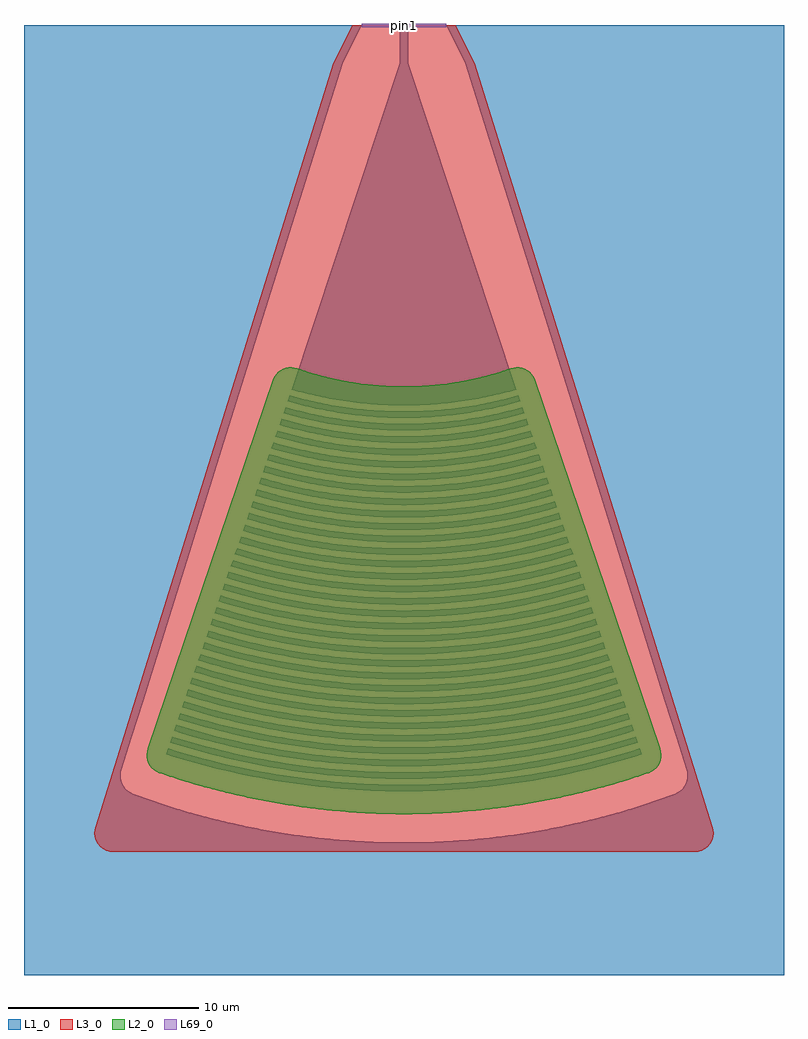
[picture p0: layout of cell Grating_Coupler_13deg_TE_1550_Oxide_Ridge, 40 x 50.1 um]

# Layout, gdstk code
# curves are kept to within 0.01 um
import gdstk
lib = gdstk.Library(unit=1e-6, precision=1e-09)
def P(c, l, *ps):  # polygons
    for p in ps: c.add(gdstk.Polygon(p, *l))
L1_0 = (1, 0)
L2_0 = (2, 0)
L3_0 = (3, 0)
L69_0 = (69, 0)

grating_coupler_13deg_te = lib.new_cell('Grating_Coupler_13deg_TE_1550_Oxide_Ridge')
P(grating_coupler_13deg_te, L1_0, [(-20,-50),(-20,0),(-2.225,0),(-3.225,-2),(-14.85,-39.128),(-14.897,-39.28),(-14.92,-39.438),(-14.917,-39.597),(-14.889,-39.754),(-14.836,-39.905),(-14.76,-40.045),(-14.662,-40.171),(-14.546,-40.28),(-14.414,-40.369),(-14.27,-40.437),(-12.895,-40.92),(-11.814,-41.261),(-10.567,-41.615),(-9.311,-41.929),(-8.203,-42.171),(-7.09,-42.382),(-5.97,-42.563),(-4.847,-42.713),(-3.72,-42.831),(-2.428,-42.928),(-1.295,-42.98),(-0.162,-43),(0.81,-42.992),(2.104,-42.946),(3.397,-42.859),(4.525,-42.75),(5.65,-42.609),(6.611,-42.464),(7.886,-42.235),(8.995,-42.001),(10.254,-41.697),(11.659,-41.307),(12.895,-40.92),(14.27,-40.437),(14.414,-40.369),(14.546,-40.28),(14.662,-40.171),(14.76,-40.045),(14.836,-39.905),(14.889,-39.754),(14.917,-39.597),(14.92,-39.438),(14.897,-39.28),(14.85,-39.128),(3.225,-2),(2.225,0),(20,0),(20,-50)],
  [(-0.195,-40.305),(-1.758,-40.268),(-2.539,-40.227),(-3.709,-40.139),(-4.875,-40.017),(-5.651,-39.918),(-6.425,-39.804),(-7.582,-39.605),(-9.117,-39.289),(-10.26,-39.014),(-11.395,-38.707),(-12.522,-38.367),(-12.411,-38.045),(-10.92,-38.487),(-9.414,-38.872),(-7.896,-39.199),(-6.751,-39.406),(-5.217,-39.632),(-3.676,-39.8),(-2.13,-39.91),(-0.581,-39.961),(0.968,-39.954),(2.13,-39.91),(3.29,-39.833),(4.832,-39.68),(5.985,-39.527),(6.751,-39.406),(7.515,-39.272),(8.657,-39.042),(9.414,-38.872),(10.545,-38.588),(11.294,-38.382),(12.411,-38.045),(12.522,-38.367),(11.017,-38.813),(9.498,-39.201),(7.967,-39.531),(6.425,-39.804),(4.875,-40.017),(3.319,-40.172),(2.539,-40.227),(1.368,-40.283)],
  [(-0.192,-39.65),(-0.96,-39.639),(-2.112,-39.595),(-2.879,-39.548),(-4.028,-39.451),(-5.174,-39.32),(-5.935,-39.216),(-7.453,-38.963),(-8.585,-38.736),(-10.085,-38.383),(-11.201,-38.081),(-12.309,-37.747),(-12.198,-37.426),(-10.732,-37.859),(-9.252,-38.237),(-7.76,-38.558),(-6.259,-38.823),(-4.749,-39.03),(-3.233,-39.181),(-1.713,-39.274),(-0.571,-39.306),(0.952,-39.299),(2.093,-39.256),(3.233,-39.181),(4.749,-39.03),(5.505,-38.934),(6.635,-38.762),(7.386,-38.63),(8.508,-38.405),(9.623,-38.148),(10.363,-37.959),(11.467,-37.65),(12.198,-37.426),(12.309,-37.747),(11.201,-38.081),(10.458,-38.286),(8.961,-38.653),(7.453,-38.963),(5.935,-39.216),(4.41,-39.411),(2.879,-39.548),(1.344,-39.628)],
  [(-0.189,-38.995),(-1.698,-38.959),(-2.452,-38.92),(-3.582,-38.835),(-4.709,-38.718),(-5.458,-38.622),(-6.579,-38.452),(-7.324,-38.321),(-8.806,-38.017),(-9.91,-37.752),(-11.007,-37.455),(-12.096,-37.128),(-11.985,-36.807),(-10.544,-37.232),(-9.09,-37.602),(-7.624,-37.917),(-6.149,-38.177),(-4.665,-38.381),(-3.549,-38.497),(-2.056,-38.602),(-0.561,-38.651),(0.935,-38.644),(2.056,-38.602),(3.549,-38.497),(4.665,-38.381),(5.408,-38.286),(6.519,-38.117),(7.256,-37.987),(8.359,-37.767),(9.455,-37.515),(10.182,-37.33),(10.906,-37.131),(11.985,-36.807),(12.096,-37.128),(10.642,-37.558),(9.91,-37.752),(8.806,-38.017),(7.324,-38.321),(5.832,-38.569),(4.333,-38.76),(2.829,-38.895),(1.321,-38.973)],
  [(-0.185,-38.34),(-1.298,-38.319),(-2.039,-38.288),(-3.518,-38.183),(-4.257,-38.11),(-5.362,-37.974),(-6.463,-37.807),(-7.194,-37.679),(-8.287,-37.46),(-9.735,-37.12),(-10.812,-36.83),(-11.882,-36.509),(-11.772,-36.187),(-10.357,-36.604),(-8.928,-36.968),(-7.849,-37.205),(-6.402,-37.473),(-4.947,-37.686),(-3.485,-37.845),(-2.019,-37.948),(-0.551,-37.996),(0.551,-37.996),(2.019,-37.948),(3.119,-37.876),(4.582,-37.731),(5.311,-37.638),(6.402,-37.473),(7.488,-37.277),(8.21,-37.129),(8.928,-36.968),(10.001,-36.7),(11.066,-36.403),(11.772,-36.187),(11.882,-36.509),(10.454,-36.93),(9.012,-37.297),(8.287,-37.46),(7.194,-37.679),(5.729,-37.922),(4.257,-38.11),(2.779,-38.242),(1.298,-38.319)],
  [(-0.182,-37.685),(-0.91,-37.675),(-2.002,-37.634),(-3.092,-37.562),(-3.818,-37.497),(-4.904,-37.374),(-5.626,-37.275),(-7.065,-37.037),(-8.138,-36.822),(-9.205,-36.578),(-10.266,-36.303),(-11.669,-35.889),(-11.558,-35.568),(-10.517,-35.88),(-9.118,-36.249),(-7.707,-36.565),(-6.286,-36.828),(-4.857,-37.037),(-3.422,-37.193),(-1.983,-37.294),(-0.541,-37.341),(0.902,-37.335),(1.983,-37.294),(3.422,-37.193),(4.499,-37.081),(5.215,-36.99),(6.286,-36.828),(7.352,-36.636),(8.061,-36.491),(9.118,-36.249),(9.819,-36.071),(10.517,-35.88),(11.558,-35.568),(11.669,-35.889),(10.266,-36.303),(8.85,-36.662),(7.423,-36.969),(5.986,-37.221),(4.542,-37.418),(3.092,-37.562),(1.638,-37.651),(0.91,-37.675)],
  [(-0.179,-37.03),(-0.894,-37.02),(-1.965,-36.98),(-3.748,-36.846),(-4.459,-36.769),(-5.523,-36.628),(-6.935,-36.395),(-7.989,-36.184),(-9.037,-35.945),(-10.424,-35.579),(-11.456,-35.27),(-11.345,-34.949),(-9.981,-35.349),(-8.604,-35.698),(-7.216,-35.995),(-5.82,-36.24),(-4.415,-36.431),(-3.006,-36.571),(-1.592,-36.657),(-0.531,-36.687),(0.531,-36.687),(1.239,-36.67),(2.653,-36.597),(4.064,-36.471),(5.469,-36.293),(7.216,-35.995),(8.604,-35.698),(9.981,-35.349),(11.345,-34.949),(11.456,-35.27),(10.078,-35.675),(8.688,-36.028),(7.287,-36.328),(5.877,-36.575),(4.459,-36.769),(3.748,-36.846),(2.679,-36.936),(1.251,-37.01)],
  [(-0.175,-36.375),(-1.928,-36.326),(-3.328,-36.227),(-5.072,-36.031),(-6.806,-35.752),(-7.84,-35.547),(-8.868,-35.312),(-9.891,-35.048),(-11.243,-34.651),(-11.132,-34.329),(-9.793,-34.722),(-8.442,-35.064),(-7.422,-35.287),(-6.053,-35.539),(-4.677,-35.74),(-3.295,-35.889),(-1.909,-35.986),(-0.521,-36.032),(0.868,-36.025),(2.256,-35.967),(3.987,-35.821),(5.366,-35.646),(6.738,-35.419),(7.422,-35.287),(8.442,-35.064),(9.793,-34.722),(11.132,-34.329),(11.243,-34.651),(9.891,-35.048),(8.526,-35.393),(7.151,-35.687),(5.767,-35.929),(4.375,-36.119),(2.979,-36.257),(1.578,-36.342),(0.526,-36.372)],
  [(-0.172,-35.72),(-1.892,-35.672),(-3.608,-35.543),(-5.316,-35.335),(-6.676,-35.11),(-7.691,-34.909),(-8.7,-34.679),(-10.036,-34.328),(-11.029,-34.032),(-10.919,-33.71),(-9.605,-34.094),(-8.28,-34.429),(-6.944,-34.714),(-5.6,-34.948),(-4.587,-35.091),(-3.232,-35.237),(-1.873,-35.332),(-0.511,-35.377),(1.192,-35.361),(2.553,-35.291),(3.91,-35.17),(5.263,-34.999),(6.609,-34.777),(7.947,-34.505),(9.275,-34.183),(10.919,-33.71),(11.029,-34.032),(9.703,-34.42),(8.364,-34.759),(7.015,-35.046),(5.316,-35.335),(3.95,-35.508),(2.579,-35.63),(1.204,-35.701)],
  [(-0.169,-35.065),(-1.855,-35.018),(-3.537,-34.892),(-5.213,-34.688),(-6.879,-34.406),(-7.872,-34.199),(-8.86,-33.964),(-9.841,-33.702),(-10.816,-33.412),(-10.705,-33.091),(-9.418,-33.467),(-8.444,-33.717),(-7.137,-34.008),(-5.821,-34.25),(-4.497,-34.442),(-3.168,-34.585),(-1.836,-34.678),(-0.501,-34.722),(0.835,-34.716),(2.169,-34.66),(3.833,-34.52),(5.16,-34.352),(6.48,-34.135),(7.791,-33.869),(9.418,-33.467),(10.705,-33.091),(10.816,-33.412),(9.515,-33.793),(8.202,-34.124),(6.879,-34.406),(5.547,-34.638),(4.209,-34.82),(2.865,-34.952),(1.181,-35.046)],
  [(-0.165,-34.41),(-1.818,-34.364),(-3.467,-34.241),(-5.11,-34.041),(-6.743,-33.765),(-7.717,-33.563),(-8.685,-33.333),(-9.647,-33.077),(-10.603,-32.793),(-10.492,-32.471),(-9.23,-32.839),(-7.956,-33.16),(-6.672,-33.432),(-5.381,-33.657),(-4.082,-33.833),(-3.105,-33.933),(-1.799,-34.024),(-0.491,-34.067),(1.145,-34.052),(2.452,-33.985),(3.757,-33.869),(5.057,-33.705),(6.35,-33.493),(7.956,-33.16),(9.23,-32.839),(10.492,-32.471),(10.603,-32.793),(9.327,-33.165),(8.04,-33.489),(6.743,-33.765),(5.438,-33.992),(3.797,-34.207),(2.478,-34.324),(1.157,-34.391)],
  [(-0.162,-33.755),(-1.781,-33.71),(-3.397,-33.589),(-5.007,-33.394),(-6.607,-33.124),(-7.561,-32.926),(-8.51,-32.702),(-9.453,-32.451),(-10.39,-32.174),(-10.279,-31.852),(-9.042,-32.212),(-7.794,-32.525),(-6.536,-32.792),(-5.588,-32.961),(-4.317,-33.145),(-3.042,-33.281),(-1.762,-33.37),(-0.481,-33.412),(0.801,-33.406),(2.402,-33.332),(3.68,-33.219),(4.953,-33.058),(6.536,-32.792),(7.794,-32.525),(9.042,-32.212),(10.279,-31.852),(10.39,-32.174),(9.139,-32.538),(7.878,-32.855),(6.607,-33.124),(5.328,-33.346),(4.042,-33.52),(2.752,-33.647),(1.458,-33.725)],
  [(-0.159,-33.1),(-1.745,-33.056),(-3.011,-32.968),(-4.589,-32.791),(-6.158,-32.542),(-7.094,-32.358),(-8.026,-32.147),(-8.952,-31.91),(-10.176,-31.554),(-10.066,-31.233),(-8.854,-31.584),(-7.632,-31.891),(-6.4,-32.151),(-5.472,-32.316),(-4.227,-32.496),(-2.978,-32.629),(-1.726,-32.716),(-0.471,-32.757),(0.785,-32.751),(2.352,-32.679),(3.603,-32.568),(4.85,-32.412),(6.091,-32.209),(7.632,-31.891),(8.854,-31.584),(10.066,-31.233),(10.176,-31.554),(8.952,-31.91),(7.716,-32.22),(6.158,-32.542),(4.904,-32.747),(3.643,-32.906),(2.378,-33.018),(1.11,-33.082)],
  [(-0.155,-32.445),(-1.708,-32.402),(-3.257,-32.287),(-4.801,-32.101),(-6.335,-31.843),(-7.25,-31.654),(-8.16,-31.44),(-9.065,-31.2),(-9.963,-30.935),(-9.852,-30.613),(-8.666,-30.957),(-7.47,-31.256),(-6.566,-31.451),(-5.355,-31.671),(-4.138,-31.847),(-2.915,-31.977),(-1.689,-32.062),(-0.461,-32.102),(0.768,-32.096),(1.996,-32.045),(3.527,-31.918),(4.747,-31.765),(5.962,-31.567),(7.169,-31.324),(8.368,-31.036),(9.852,-30.613),(9.963,-30.935),(8.764,-31.283),(7.25,-31.654),(6.029,-31.9),(4.801,-32.101),(3.567,-32.255),(2.328,-32.364),(1.087,-32.428)],
  [(-0.152,-31.79),(-1.671,-31.748),(-3.187,-31.636),(-4.697,-31.454),(-6.199,-31.202),(-7.094,-31.018),(-7.985,-30.808),(-8.87,-30.574),(-9.75,-30.316),(-9.639,-29.994),(-8.479,-30.329),(-7.308,-30.621),(-6.128,-30.869),(-4.942,-31.074),(-3.749,-31.234),(-2.552,-31.35),(-1.352,-31.422),(-0.451,-31.447),(0.751,-31.442),(1.952,-31.392),(3.151,-31.298),(4.644,-31.118),(5.832,-30.925),(7.308,-30.621),(8.479,-30.329),(9.639,-29.994),(9.75,-30.316),(8.576,-30.655),(7.392,-30.951),(5.899,-31.258),(4.697,-31.454),(3.49,-31.605),(2.278,-31.711),(1.064,-31.773)],
  [(-0.149,-31.135),(-1.634,-31.094),(-3.117,-30.984),(-4.594,-30.807),(-6.063,-30.561),(-6.939,-30.381),(-7.81,-30.177),(-8.676,-29.949),(-9.537,-29.696),(-9.426,-29.375),(-8.291,-29.702),(-7.146,-29.987),(-5.992,-30.229),(-4.832,-30.428),(-3.666,-30.584),(-2.495,-30.698),(-1.322,-30.768),(-0.441,-30.792),(0.734,-30.787),(1.909,-30.738),(3.373,-30.617),(4.541,-30.471),(5.703,-30.283),(7.146,-29.987),(8.291,-29.702),(9.426,-29.375),(9.537,-29.696),(8.388,-30.028),(7.23,-30.316),(5.77,-30.616),(4.594,-30.807),(3.413,-30.954),(2.228,-31.058),(1.04,-31.118)],
  [(-0.145,-30.48),(-1.598,-30.44),(-3.047,-30.333),(-4.491,-30.16),(-5.927,-29.921),(-6.783,-29.745),(-7.635,-29.546),(-8.482,-29.323),(-9.323,-29.077),(-9.213,-28.756),(-8.103,-29.074),(-6.984,-29.352),(-6.139,-29.533),(-5.006,-29.738),(-3.868,-29.901),(-2.725,-30.021),(-1.579,-30.1),(-0.431,-30.137),(0.718,-30.132),(1.865,-30.085),(3.297,-29.966),(4.438,-29.824),(5.573,-29.64),(6.703,-29.415),(7.824,-29.148),(9.213,-28.756),(9.323,-29.077),(8.2,-29.4),(6.783,-29.745),(5.641,-29.974),(4.491,-30.16),(3.337,-30.304),(2.178,-30.405),(1.017,-30.464)],
  [(-0.142,-29.825),(-1.561,-29.786),(-2.977,-29.682),(-4.388,-29.513),(-5.791,-29.28),(-6.628,-29.109),(-7.46,-28.915),(-8.288,-28.698),(-9.11,-28.458),(-8.999,-28.136),(-7.915,-28.447),(-6.822,-28.717),(-5.72,-28.947),(-4.612,-29.137),(-3.499,-29.285),(-2.382,-29.393),(-1.262,-29.459),(-0.421,-29.482),(0.701,-29.477),(1.822,-29.431),(3.22,-29.316),(4.334,-29.177),(5.444,-28.998),(6.547,-28.779),(7.915,-28.447),(8.999,-28.136),(9.11,-28.458),(8.013,-28.773),(6.906,-29.047),(5.791,-29.28),(4.669,-29.472),(3.542,-29.622),(2.128,-29.752),(0.994,-29.809)],
  [(-0.139,-29.17),(-1.524,-29.132),(-2.907,-29.031),(-4.285,-28.866),(-5.655,-28.639),(-6.472,-28.473),(-7.285,-28.284),(-8.094,-28.072),(-8.897,-27.838),(-8.786,-27.517),(-7.727,-27.819),(-6.66,-28.083),(-5.584,-28.307),(-4.503,-28.491),(-3.688,-28.603),(-2.598,-28.718),(-1.505,-28.792),(-0.411,-28.827),(0.684,-28.822),(1.779,-28.778),(2.871,-28.693),(4.231,-28.531),(5.584,-28.307),(6.66,-28.083),(7.727,-27.819),(8.786,-27.517),(8.897,-27.838),(7.825,-28.145),(6.744,-28.412),(5.655,-28.639),(4.56,-28.826),(3.459,-28.973),(2.354,-29.079),(1.247,-29.145)],
  [(-0.135,-28.515),(-1.487,-28.478),(-2.837,-28.38),(-4.182,-28.22),(-5.519,-27.998),(-6.317,-27.836),(-7.11,-27.652),(-7.9,-27.447),(-8.684,-27.219),(-8.573,-26.898),(-7.54,-27.192),(-6.759,-27.388),(-5.711,-27.615),(-4.657,-27.804),(-3.598,-27.954),(-2.535,-28.066),(-1.468,-28.139),(-0.668,-28.168),(0.668,-28.168),(1.735,-28.124),(3.067,-28.015),(4.128,-27.884),(5.448,-27.666),(6.498,-27.448),(7.54,-27.192),(8.573,-26.898),(8.684,-27.219),(7.637,-27.518),(6.317,-27.836),(5.252,-28.048),(4.182,-28.22),(3.106,-28.352),(2.028,-28.446),(0.947,-28.5)],
  [(-0.132,-27.86),(-1.451,-27.824),(-2.767,-27.728),(-4.078,-27.573),(-5.383,-27.358),(-6.161,-27.2),(-6.935,-27.021),(-7.705,-26.821),(-8.47,-26.6),(-8.36,-26.278),(-7.605,-26.496),(-6.59,-26.755),(-5.569,-26.976),(-4.541,-27.159),(-3.508,-27.305),(-2.471,-27.414),(-1.432,-27.485),(-0.391,-27.518),(0.911,-27.506),(1.952,-27.454),(2.99,-27.364),(4.025,-27.237),(5.055,-27.072),(6.08,-26.87),(7.098,-26.63),(8.36,-26.278),(8.47,-26.6),(7.449,-26.89),(6.42,-27.143),(5.383,-27.358),(4.34,-27.535),(3.292,-27.673),(2.241,-27.774),(0.923,-27.846)],
  [(-0.129,-27.205),(-1.414,-27.17),(-2.697,-27.077),(-3.975,-26.926),(-5.247,-26.717),(-6.005,-26.564),(-6.76,-26.39),(-7.511,-26.196),(-8.257,-25.98),(-8.146,-25.659),(-7.164,-25.937),(-6.173,-26.179),(-5.176,-26.384),(-4.173,-26.554),(-3.418,-26.657),(-2.408,-26.762),(-1.395,-26.831),(-0.381,-26.863),(0.634,-26.858),(1.902,-26.801),(2.913,-26.714),(3.922,-26.59),(4.926,-26.43),(5.925,-26.234),(6.917,-26.001),(8.146,-25.659),(8.257,-25.98),(7.261,-26.263),(6.258,-26.508),(5.247,-26.717),(4.23,-26.889),(3.209,-27.024),(1.928,-27.14),(0.9,-27.191)],
  [(-0.125,-26.55),(-1.377,-26.516),(-2.627,-26.426),(-3.375,-26.345),(-4.12,-26.243),(-5.358,-26.029),(-6.585,-25.759),(-7.317,-25.57),(-8.044,-25.361),(-7.933,-25.04),(-6.976,-25.309),(-6.011,-25.544),(-5.04,-25.744),(-4.064,-25.908),(-3.082,-26.037),(-2.098,-26.13),(-1.358,-26.177),(-0.371,-26.208),(0.864,-26.197),(1.852,-26.148),(2.837,-26.063),(3.819,-25.943),(5.04,-25.744),(6.011,-25.544),(6.976,-25.309),(7.933,-25.04),(8.044,-25.361),(7.074,-25.635),(6.096,-25.874),(5.111,-26.076),(4.12,-26.243),(3.126,-26.374),(2.127,-26.469),(0.877,-26.536)],
  [(-0.122,-25.895),(-1.341,-25.862),(-2.557,-25.775),(-3.285,-25.696),(-4.011,-25.597),(-5.215,-25.39),(-6.411,-25.128),(-7.831,-24.742),(-7.72,-24.42),(-6.788,-24.682),(-5.849,-24.91),(-5.141,-25.058),(-4.192,-25.226),(-3.238,-25.359),(-2.281,-25.458),(-1.321,-25.523),(-0.361,-25.553),(0.841,-25.542),(1.801,-25.495),(2.76,-25.413),(3.715,-25.297),(4.667,-25.146),(5.849,-24.91),(6.788,-24.682),(7.72,-24.42),(7.831,-24.742),(6.886,-25.008),(5.933,-25.239),(4.975,-25.436),(4.011,-25.597),(3.042,-25.724),(1.827,-25.834),(0.853,-25.882)],
  [(-0.119,-25.24),(-1.304,-25.208),(-2.014,-25.164),(-2.723,-25.1),(-3.901,-24.952),(-5.072,-24.75),(-6.467,-24.439),(-7.617,-24.122),(-7.507,-23.801),(-6.828,-23.994),(-5.916,-24.223),(-4.988,-24.42),(-4.075,-24.581),(-3.148,-24.71),(-2.218,-24.806),(-1.285,-24.869),(-0.584,-24.894),(0.584,-24.894),(1.518,-24.856),(2.451,-24.785),(3.612,-24.65),(4.538,-24.504),(5.458,-24.325),(6.373,-24.113),(7.507,-23.801),(7.617,-24.122),(6.698,-24.38),(5.771,-24.604),(4.839,-24.795),(3.901,-24.952),(2.959,-25.075),(1.777,-25.181),(0.83,-25.227)],
  [(-0.115,-24.585),(-1.267,-24.554),(-2.417,-24.472),(-3.563,-24.339),(-4.93,-24.111),(-6.286,-23.81),(-7.404,-23.503),(-7.293,-23.182),(-6.634,-23.369),(-5.748,-23.59),(-4.856,-23.779),(-3.959,-23.936),(-3.284,-24.033),(-2.38,-24.134),(-1.475,-24.203),(-0.567,-24.239),(0.567,-24.239),(1.475,-24.203),(2.607,-24.112),(3.509,-24.003),(4.408,-23.862),(5.303,-23.689),(6.413,-23.427),(7.293,-23.182),(7.404,-23.503),(6.51,-23.753),(5.609,-23.97),(4.703,-24.154),(3.563,-24.339),(2.646,-24.449),(1.727,-24.527),(0.806,-24.573)],
  [(-0.112,-23.93),(-1.23,-23.9),(-2.347,-23.821),(-3.46,-23.692),(-4.787,-23.472),(-6.104,-23.181),(-7.191,-22.884),(-7.08,-22.562),(-6.225,-22.799),(-5.363,-23.006),(-4.496,-23.181),(-3.843,-23.292),(-2.968,-23.413),(-2.31,-23.483),(-1.431,-23.549),(-0.551,-23.584),(0.33,-23.588),(1.431,-23.549),(2.31,-23.483),(3.406,-23.356),(4.279,-23.22),(5.363,-23.006),(6.225,-22.799),(7.08,-22.562),(7.191,-22.884),(6.104,-23.181),(5.228,-23.383),(4.346,-23.553),(3.46,-23.692),(2.57,-23.799),(1.677,-23.874),(0.783,-23.918)],
  [(-0.109,-23.275),(-1.41,-23.235),(-2.493,-23.148),(-3.787,-22.982),(-4.859,-22.79),(-5.923,-22.551),(-6.978,-22.265),(-6.867,-21.943),(-6.245,-22.118),(-5.411,-22.324),(-4.571,-22.501),(-3.726,-22.647),(-2.878,-22.764),(-2.027,-22.85),(-1.175,-22.907),(-0.534,-22.929),(0.32,-22.933),(1.388,-22.895),(2.453,-22.811),(3.303,-22.709),(4.149,-22.578),(5.201,-22.371),(6.037,-22.172),(6.867,-21.943),(6.978,-22.265),(6.135,-22.498),(5.072,-22.746),(4.216,-22.911),(3.356,-23.045),(2.277,-23.17),(1.627,-23.221),(0.76,-23.263)],
  [(-0.105,-22.62),(-1.367,-22.581),(-2.416,-22.498),(-3.462,-22.369),(-4.71,-22.152),(-5.741,-21.922),(-6.764,-21.645),(-6.654,-21.324),(-6.051,-21.492),(-5.242,-21.691),(-4.428,-21.861),(-3.61,-22.003),(-2.994,-22.09),(-2.17,-22.18),(-1.344,-22.242),(-0.517,-22.275),(0.31,-22.278),(1.138,-22.253),(2.17,-22.18),(2.994,-22.09),(4.02,-21.936),(4.836,-21.78),(5.647,-21.595),(6.654,-21.324),(6.764,-21.645),(5.947,-21.87),(5.123,-22.066),(4.295,-22.232),(3.462,-22.369),(2.626,-22.476),(1.577,-22.568),(0.736,-22.609)],
  [(-0.102,-21.965),(-1.324,-21.928),(-2.34,-21.847),(-3.554,-21.693),(-4.561,-21.515),(-5.56,-21.292),(-6.551,-21.026),(-6.44,-20.704),(-5.662,-20.917),(-4.877,-21.102),(-4.088,-21.259),(-3.494,-21.358),(-2.898,-21.442),(-2.1,-21.529),(-1.301,-21.588),(-0.501,-21.62),(0.501,-21.62),(1.301,-21.588),(2.3,-21.51),(3.097,-21.416),(4.088,-21.259),(4.68,-21.144),(5.466,-20.966),(6.44,-20.704),(6.551,-21.026),(5.759,-21.243),(4.961,-21.431),(4.159,-21.591),(3.352,-21.723),(2.542,-21.826),(1.73,-21.901),(0.917,-21.947)],
  [(-0.099,-21.31),(-1.28,-21.274),(-2.263,-21.197),(-3.438,-21.048),(-4.411,-20.877),(-5.379,-20.663),(-6.338,-20.407),(-6.227,-20.085),(-5.474,-20.289),(-4.715,-20.467),(-4.143,-20.583),(-3.377,-20.713),(-2.609,-20.817),(-1.837,-20.895),(-1.258,-20.935),(-0.484,-20.965),(0.484,-20.965),(1.258,-20.935),(2.03,-20.878),(2.993,-20.769),(3.952,-20.618),(4.715,-20.467),(5.474,-20.289),(6.227,-20.085),(6.338,-20.407),(5.379,-20.663),(4.605,-20.838),(3.828,-20.985),(3.047,-21.105),(2.263,-21.197),(1.477,-21.262),(0.69,-21.3)],
  [(-0.095,-20.655),(-1.047,-20.63),(-1.997,-20.565),(-3.133,-20.431),(-4.262,-20.239),(-5.197,-20.034),(-6.125,-19.787),(-6.014,-19.466),(-4.737,-19.792),(-4.001,-19.943),(-3.261,-20.069),(-1.96,-20.227),(-1.214,-20.281),(-0.467,-20.31),(0.467,-20.31),(1.214,-20.281),(1.96,-20.227),(2.89,-20.122),(3.631,-20.009),(4.369,-19.871),(5.286,-19.662),(6.014,-19.466),(6.125,-19.787),(5.383,-19.988),(4.637,-20.162),(3.699,-20.343),(2.944,-20.458),(1.997,-20.565),(1.427,-20.609),(0.666,-20.645)],
  [(-0.092,-20),(-0.826,-19.984),(-1.56,-19.943),(-2.293,-19.877),(-3.023,-19.786),(-3.751,-19.669),(-4.475,-19.527),(-5.196,-19.36),(-5.911,-19.168),(-0.225,-2),(-0.225,0),(0.225,0),(0.225,-2),(5.911,-19.168),(5.196,-19.36),(4.475,-19.527),(3.751,-19.669),(3.023,-19.786),(2.11,-19.896),(1.377,-19.956),(0.643,-19.991)])
P(grating_coupler_13deg_te, L2_0, [(-0.146,-41.505),(-1.165,-41.488),(-2.184,-41.445),(-3.346,-41.363),(-4.361,-41.264),(-5.228,-41.158),(-6.237,-41.01),(-7.241,-40.836),(-8.241,-40.636),(-9.377,-40.376),(-10.505,-40.083),(-11.901,-39.67),(-12.869,-39.35),(-13.015,-39.286),(-13.15,-39.2),(-13.268,-39.093),(-13.369,-38.969),(-13.448,-38.831),(-13.504,-38.682),(-13.536,-38.526),(-13.543,-38.366),(-13.524,-38.208),(-13.48,-38.054),(-6.878,-18.604),(-6.809,-18.469),(-6.721,-18.346),(-6.616,-18.237),(-6.495,-18.146),(-6.362,-18.074),(-6.22,-18.023),(-6.071,-17.994),(-5.92,-17.987),(-5.769,-18.004),(-4.896,-18.28),(-4.098,-18.499),(-3.29,-18.679),(-2.538,-18.81),(-1.97,-18.886),(-1.209,-18.957),(-0.7,-18.986),(0,-19),(0,-41.505)],
  [(0,-41.505),(0,-19),(0.7,-18.986),(1.209,-18.957),(1.97,-18.886),(2.538,-18.81),(3.29,-18.679),(4.098,-18.499),(4.896,-18.28),(5.769,-18.004),(5.92,-17.987),(6.071,-17.994),(6.22,-18.023),(6.362,-18.074),(6.495,-18.146),(6.616,-18.237),(6.721,-18.346),(6.809,-18.469),(6.878,-18.604),(13.48,-38.054),(13.524,-38.208),(13.543,-38.366),(13.536,-38.526),(13.504,-38.682),(13.448,-38.831),(13.369,-38.969),(13.268,-39.093),(13.15,-39.2),(13.015,-39.286),(12.869,-39.35),(11.901,-39.67),(10.505,-40.083),(9.377,-40.376),(7.956,-40.696),(6.955,-40.888),(5.949,-41.055),(5.084,-41.177),(4.071,-41.295),(3.056,-41.387),(2.184,-41.445),(1.165,-41.488)])
P(grating_coupler_13deg_te, L3_0, [(-15.293,-43.5),(-15.486,-43.481),(-15.671,-43.426),(-15.843,-43.336),(-15.993,-43.214),(-16.118,-43.066),(-16.211,-42.897),(-16.271,-42.712),(-16.293,-42.52),(-16.278,-42.327),(-16.227,-42.141),(-3.725,-2),(-2.725,0),(0,0),(0,-43.5)],
  [(0,-43.5),(0,0),(2.725,0),(3.725,-2),(16.227,-42.141),(16.278,-42.327),(16.293,-42.52),(16.271,-42.712),(16.211,-42.897),(16.118,-43.066),(15.993,-43.214),(15.843,-43.336),(15.671,-43.426),(15.486,-43.481),(15.293,-43.5)])
grating_coupler_13deg_te.add(gdstk.FlexPath([(0,0.1),(0,-0.1)], 4.45, ends="flush", simple_path=True, layer=69, datatype=0))  # L69_0
grating_coupler_13deg_te.add(gdstk.Label('pin1', (0,0), layer=69, texttype=0))

lib.write_gds('Grating_Coupler_13deg_TE_1550_Oxide_Ridge.gds')
